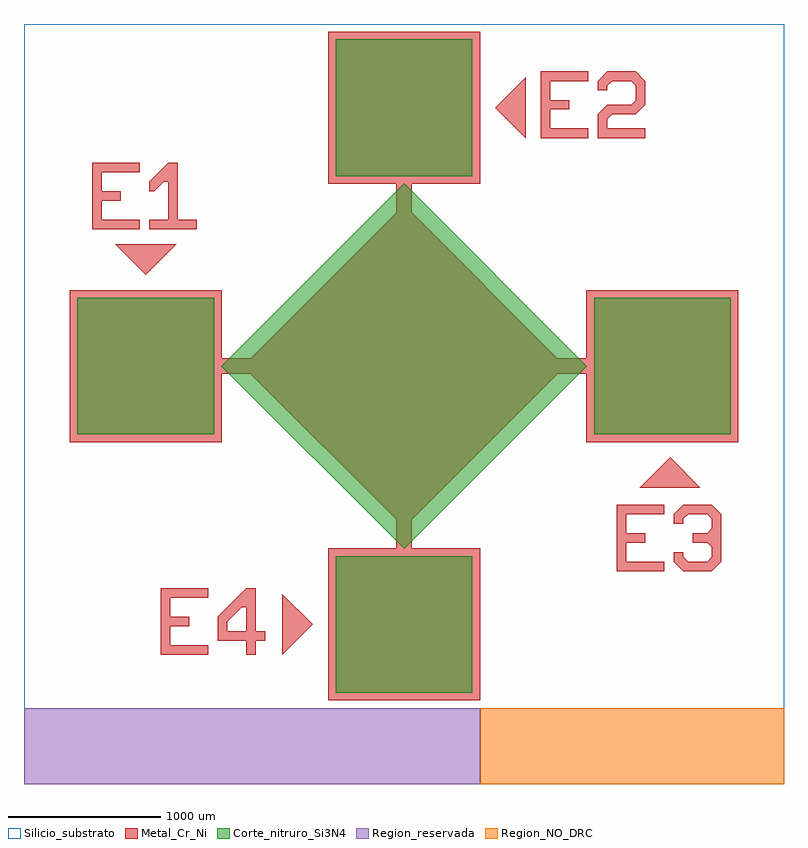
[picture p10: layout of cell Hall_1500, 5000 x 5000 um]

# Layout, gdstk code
import gdstk
lib = gdstk.Library(unit=1e-6, precision=1e-06)
def R(c, l, rs):  # rectangles x0, y0, x1, y1
    for r in rs: c.add(gdstk.rectangle(r[:2], r[2:], *l))
def P(c, l, *ps):  # polygons
    for p in ps: c.add(gdstk.Polygon(p, *l))
Silicio_substrato = (1, 1)
Region_reservada = (1, 2)
Region_NO_DRC = (1, 3)
Metal_Cr_Ni = (2, 0)
Corte_nitruro_Si3N4 = (3, 0)

chip_plantilla5x5mm_1 = lib.new_cell('Chip_Plantilla5x5mm$1')
R(chip_plantilla5x5mm_1, Silicio_substrato, [(0,0,5000,5000)])
R(chip_plantilla5x5mm_1, Region_reservada, [(0,0,3000,500)])
R(chip_plantilla5x5mm_1, Region_NO_DRC, [(3000,0,5000,500)])

text_12 = lib.new_cell('TEXT$12')
P(text_12, Metal_Cr_Ni, [(0,0),(0,438),(313,438),(313,375),(63,375),(63,250),(188,250),(188,188),(63,188),(63,63),(313,63),(313,0)],
  [(375,0),(375,63),(500,63),(500,313),(469,313),(406,250),(375,250),(375,313),(500,438),(563,438),(563,63),(688,63),(688,0)])

text_13 = lib.new_cell('TEXT$13')
P(text_13, Metal_Cr_Ni, [(0,0),(0,438),(313,438),(313,375),(63,375),(63,250),(188,250),(188,188),(63,188),(63,63),(313,63),(313,0)],
  [(375,0),(375,156),(438,219),(594,219),(625,250),(625,344),(594,375),(469,375),(438,344),(438,313),(375,313),(375,375),(438,438),(625,438),(688,375),(688,219),(625,156),(469,156),(438,125),(438,63),(688,63),(688,0)])

text_14 = lib.new_cell('TEXT$14')
P(text_14, Metal_Cr_Ni, [(0,0),(0,438),(313,438),(313,375),(63,375),(63,250),(188,250),(188,188),(63,188),(63,63),(313,63),(313,0)],
  [(438,0),(375,63),(375,125),(438,125),(438,94),(469,63),(594,63),(625,94),(625,156),(594,188),(500,188),(500,250),(594,250),(625,281),(625,344),(594,375),(469,375),(438,344),(438,313),(375,313),(375,375),(438,438),(625,438),(688,375),(688,250),(656,219),(688,188),(688,63),(625,0)])

text_15 = lib.new_cell('TEXT$15')
P(text_15, Metal_Cr_Ni, [(0,0),(0,438),(313,438),(313,375),(63,375),(63,250),(188,250),(188,188),(63,188),(63,63),(313,63),(313,0)],
  [(563,0),(563,94),(375,94),(375,156),(563,156),(563,313),(531,313),(438,219),(438,156),(375,156),(375,250),(563,438),(625,438),(625,156),(688,156),(688,94),(625,94),(625,0)])

hall_1500 = lib.new_cell('Hall_1500')
R(hall_1500, Metal_Cr_Ni, [(2000,550,3000,1550), (2450,1250,2550,4250), (4550,1592,4586,1650), (300,2250,1300,3250), (3700,2250,4700,3250), (1000,2700,4000,2800), (2000,3950,3000,4950)])
P(hall_1500, Metal_Cr_Ni, [(800,3350),(600,3550),(1000,3550)],
  [(1700,850),(1700,1250),(1900,1050)],
  [(4050,1950),(4250,2150),(4450,1950)],
  [(3300,4250),(3100,4450),(3300,4650)],
  [(2500,1689),(1439,2750),(2500,3811),(3561,2750)])
R(hall_1500, Corte_nitruro_Si3N4, [(2050,600,2950,1500), (350,2300,1250,3200), (3750,2300,4650,3200), (2050,4000,2950,4900)])
P(hall_1500, Corte_nitruro_Si3N4, [(2500,1548),(1298,2750),(2500,3952),(3702,2750)])
hall_1500.add(gdstk.Reference(chip_plantilla5x5mm_1, (0,0)))
hall_1500.add(gdstk.Reference(text_12, (450,3650)))
hall_1500.add(gdstk.Reference(text_13, (3400,4250)))
hall_1500.add(gdstk.Reference(text_14, (3900,1400)))
hall_1500.add(gdstk.Reference(text_15, (900,850)))

lib.write_gds('Hall_1500.gds')
